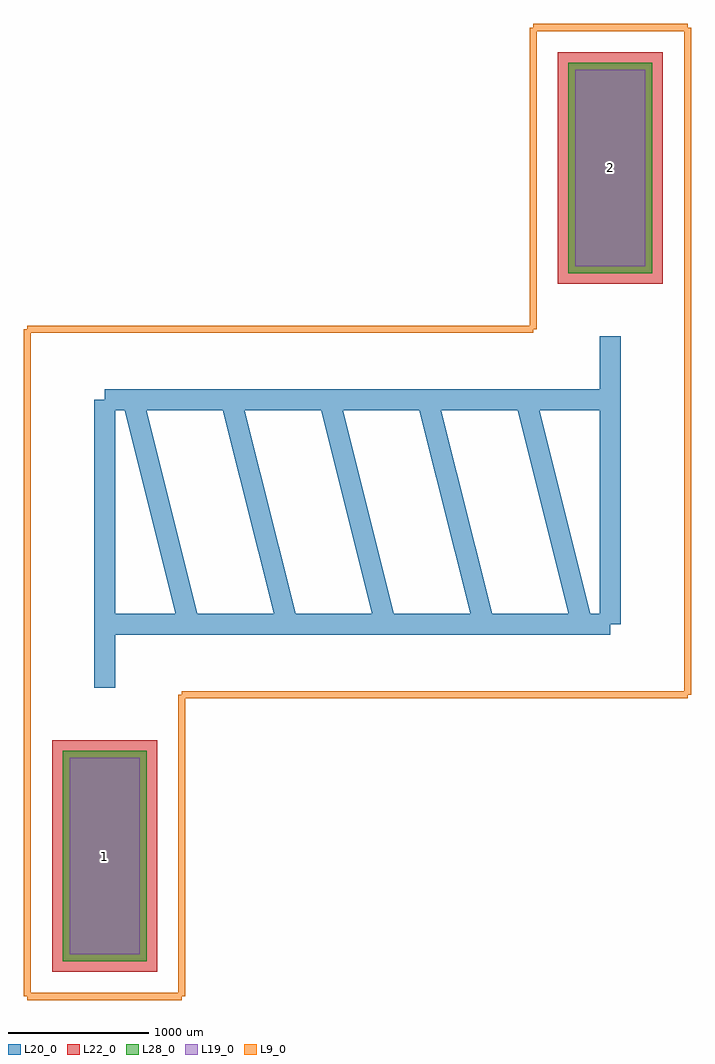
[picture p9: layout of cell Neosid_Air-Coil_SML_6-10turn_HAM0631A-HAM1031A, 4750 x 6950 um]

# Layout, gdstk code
import gdstk
lib = gdstk.Library(unit=1e-6, precision=1e-09)
def R(c, l, rs):  # rectangles x0, y0, x1, y1
    for r in rs: c.add(gdstk.rectangle(r[:2], r[2:], *l))
L9_0 = (9, 0)
L19_0 = (19, 0)
L20_0 = (20, 0)
L22_0 = (22, 0)
L28_0 = (28, 0)

neosid_air_coil_sml_6_10 = lib.new_cell('Neosid_Air-Coil_SML_6-10turn_HAM0631A-HAM1031A')
R(neosid_air_coil_sml_6_10, L19_0, [(-2050,-3150,-1550,-1750), (1550,1750,2050,3150)])
R(neosid_air_coil_sml_6_10, L22_0, [(-2175,-3275,-1425,-1625), (1425,1625,2175,3275)])
R(neosid_air_coil_sml_6_10, L28_0, [(-2100,-3200,-1500,-1700), (1500,1700,2100,3200)])
neosid_air_coil_sml_6_10.add(gdstk.FlexPath([(1800,-800),(1800,1250)], 149.998, ends="flush", simple_path=True, layer=20, datatype=0))  # L20_0
neosid_air_coil_sml_6_10.add(gdstk.FlexPath([(-1800,800),(-1800,-1250)], 149.998, ends="flush", simple_path=True, layer=20, datatype=0))  # L20_0
neosid_air_coil_sml_6_10.add(gdstk.FlexPath([(-1800,800),(1800,800)], 149.998, ends="flush", simple_path=True, layer=20, datatype=0))  # L20_0
neosid_air_coil_sml_6_10.add(gdstk.FlexPath([(1800,-800),(-1800,-800)], 149.998, ends="flush", simple_path=True, layer=20, datatype=0))  # L20_0
neosid_air_coil_sml_6_10.add(gdstk.FlexPath([(-1600,800),(-1200,-800)], 149.998, ends="flush", simple_path=True, layer=20, datatype=0))  # L20_0
neosid_air_coil_sml_6_10.add(gdstk.FlexPath([(-900,800),(-500,-800)], 149.998, ends="flush", simple_path=True, layer=20, datatype=0))  # L20_0
neosid_air_coil_sml_6_10.add(gdstk.FlexPath([(-200,800),(200,-800)], 149.998, ends="flush", simple_path=True, layer=20, datatype=0))  # L20_0
neosid_air_coil_sml_6_10.add(gdstk.FlexPath([(500,800),(900,-800)], 149.998, ends="flush", simple_path=True, layer=20, datatype=0))  # L20_0
neosid_air_coil_sml_6_10.add(gdstk.FlexPath([(1200,800),(1600,-800)], 149.998, ends="flush", simple_path=True, layer=20, datatype=0))  # L20_0
neosid_air_coil_sml_6_10.add(gdstk.FlexPath([(-2350,1300),(-2350,-3450)], 50, ends="flush", simple_path=True, layer=9, datatype=0))  # L9_0
neosid_air_coil_sml_6_10.add(gdstk.FlexPath([(1250,1300),(-2350,1300)], 50, ends="flush", simple_path=True, layer=9, datatype=0))  # L9_0
neosid_air_coil_sml_6_10.add(gdstk.FlexPath([(1250,3450),(1250,1300)], 50, ends="flush", simple_path=True, layer=9, datatype=0))  # L9_0
neosid_air_coil_sml_6_10.add(gdstk.FlexPath([(2350,3450),(1250,3450)], 50, ends="flush", simple_path=True, layer=9, datatype=0))  # L9_0
neosid_air_coil_sml_6_10.add(gdstk.FlexPath([(2350,-1300),(2350,3450)], 50, ends="flush", simple_path=True, layer=9, datatype=0))  # L9_0
neosid_air_coil_sml_6_10.add(gdstk.FlexPath([(-1250,-1300),(2350,-1300)], 50, ends="flush", simple_path=True, layer=9, datatype=0))  # L9_0
neosid_air_coil_sml_6_10.add(gdstk.FlexPath([(-1250,-3450),(-1250,-1300)], 50, ends="flush", simple_path=True, layer=9, datatype=0))  # L9_0
neosid_air_coil_sml_6_10.add(gdstk.FlexPath([(-2350,-3450),(-1250,-3450)], 50, ends="flush", simple_path=True, layer=9, datatype=0))  # L9_0
neosid_air_coil_sml_6_10.add(gdstk.Label('2', (1800,2450), layer=28, texttype=0))
neosid_air_coil_sml_6_10.add(gdstk.Label('1', (-1800,-2450), layer=28, texttype=0))
neosid_air_coil_sml_6_10.add(gdstk.Label('type', (0,-4500), layer=9, texttype=0))
neosid_air_coil_sml_6_10.add(gdstk.Label('devicename', (0,4500), layer=9, texttype=0))

lib.write_gds('Neosid_Air-Coil_SML_6-10turn_HAM0631A-HAM1031A.gds')
